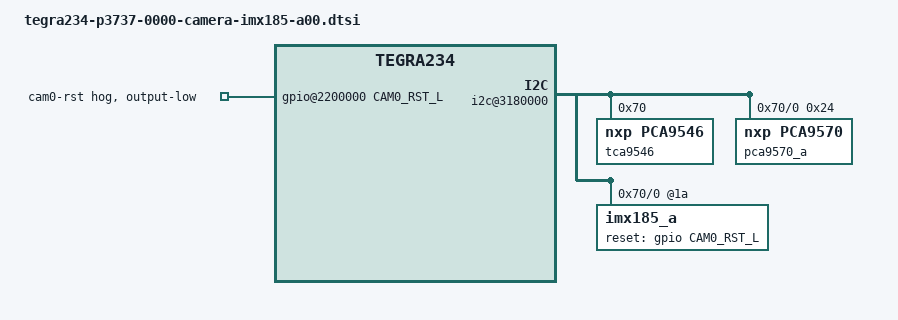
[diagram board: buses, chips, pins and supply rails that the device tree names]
// SPDX-License-Identifier: GPL-2.0-only
// SPDX-FileCopyrightText: Copyright (c) 2017-2023, NVIDIA CORPORATION & AFFILIATES. All rights reserved.

#include "tegra234-camera-imx185-a00.dtsi"
#include <dt-bindings/clock/tegra234-clock.h>
#include <dt-bindings/gpio/tegra234-gpio.h>

#define CAM0_RST_L	TEGRA234_MAIN_GPIO(H, 3)

/* camera control gpio definitions */

/ {
	fragment-camera-imx185@0 {
		target-path = "/bus@0";
		__overlay__ {
			gpio@2200000 {
				camera-control-output-low {
					gpio-hog;
					output-low;
					gpios = <CAM0_RST_L 0>;
					label = "cam0-rst";
				};
			};

			i2c@3180000 {
				tca9546@70 {
					compatible = "nxp,pca9546";
					reg = <0x70>;
					#address-cells = <1>;
					#size-cells = <0>;
					skip_mux_detect = "yes";

					i2c@0 {
						reg = <0>;
						i2c-mux,deselect-on-exit;
						#address-cells = <1>;
						#size-cells = <0>;
						pca9570_a@24 {
							compatible = "nxp,pca9570";
							reg = <0x24>;
							channel = "a";
							drive_ic = "DRV8838";
						};

						imx185_a@1a {
							/* Define any required hw resources needed by driver */
							/* ie. clocks, io pins, power sources */
							clocks = <&bpmp TEGRA234_CLK_EXTPERIPH1>,
								<&bpmp TEGRA234_CLK_EXTPERIPH1>;
							clock-names = "extperiph1", "pllp_grtba";
							mclk = "extperiph1";
							reset-gpios = <&gpio CAM0_RST_L GPIO_ACTIVE_HIGH>;
						};
					};
				};
			};
		};
	};
};
